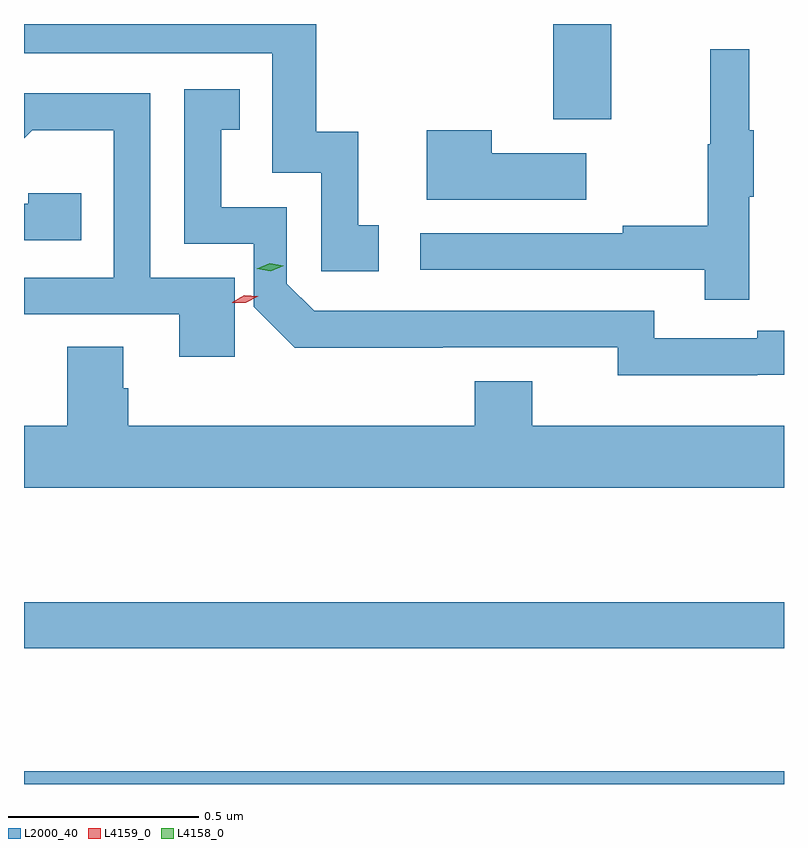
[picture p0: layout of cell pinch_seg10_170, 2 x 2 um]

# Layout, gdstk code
import gdstk
lib = gdstk.Library(unit=1e-6, precision=1e-09)
def R(c, l, rs):  # rectangles x0, y0, x1, y1
    for r in rs: c.add(gdstk.rectangle(r[:2], r[2:], *l))
def P(c, l, *ps):  # polygons
    for p in ps: c.add(gdstk.Polygon(p, *l))
L2000_40 = (2000, 40)
L4158_0 = (4158, 0)
L4159_0 = (4159, 0)

pinch_seg10_170 = lib.new_cell('pinch_seg10_170')
R(pinch_seg10_170, L2000_40, [(677.104,1264.905,679.104,1264.939), (677.104,1265.262,679.104,1265.383), (678.497,1266.654,678.649,1266.905)])
P(pinch_seg10_170, L2000_40, [(678.037,1266.375),(677.984,1266.375),(677.984,1266.622),(677.873,1266.622),(677.873,1266.905),(677.104,1266.905),(677.104,1266.828),(677.757,1266.828),(677.757,1266.513),(677.886,1266.513),(677.886,1266.255),(678.037,1266.255)],
  [(679.013,1266.451),(679.024,1266.451),(679.024,1266.625),(679.013,1266.625),(679.013,1266.838),(678.91,1266.838),(678.91,1266.588),(678.903,1266.588),(678.903,1266.374),(678.679,1266.374),(678.679,1266.354),(678.147,1266.354),(678.147,1266.258),(678.895,1266.258),(678.895,1266.18),(679.013,1266.18)],
  [(679.034,1265.982),(679.104,1265.982),(679.104,1266.098),(679.034,1266.098),(679.034,1266.078),(678.762,1266.078),(678.762,1266.15),(677.868,1266.15),(677.796,1266.222),(677.796,1266.423),(677.623,1266.423),(677.623,1266.627),(677.672,1266.627),(677.672,1266.733),(677.526,1266.733),(677.526,1266.327),(677.708,1266.327),(677.708,1266.161),(677.816,1266.053),(678.206,1266.053),(678.206,1266.054),(678.666,1266.054),(678.666,1265.981),(679.034,1265.981)],
  [(677.659,1266.237),(677.436,1266.237),(677.436,1266.723),(677.104,1266.723),(677.104,1266.604),(677.126,1266.626),(677.34,1266.626),(677.34,1266.237),(677.104,1266.237),(677.104,1266.141),(677.513,1266.141),(677.513,1266.03),(677.659,1266.03)],
  [(678.583,1266.565),(678.335,1266.565),(678.335,1266.625),(678.164,1266.625),(678.164,1266.443),(678.583,1266.443)],
  [(677.255,1266.459),(677.115,1266.459),(677.115,1266.432),(677.104,1266.432),(677.104,1266.336),(677.255,1266.336)],
  [(679.104,1265.848),(678.442,1265.848),(678.442,1265.965),(678.29,1265.965),(678.29,1265.848),(677.378,1265.848),(677.378,1265.946),(677.365,1265.946),(677.365,1266.056),(677.218,1266.056),(677.218,1265.848),(677.104,1265.848),(677.104,1265.684),(679.104,1265.684)])
P(pinch_seg10_170, L4158_0, [(677.753,1266.255),(677.716,1266.261),(677.716,1266.261),(677.716,1266.261),(677.751,1266.275),(677.788,1266.269),(677.788,1266.269),(677.788,1266.269)])
P(pinch_seg10_170, L4159_0, [(677.688,1266.171),(677.652,1266.172),(677.652,1266.172),(677.652,1266.173),(677.684,1266.191),(677.72,1266.189),(677.72,1266.189),(677.72,1266.189)])

lib.write_gds('pinch_seg10_170.gds')
